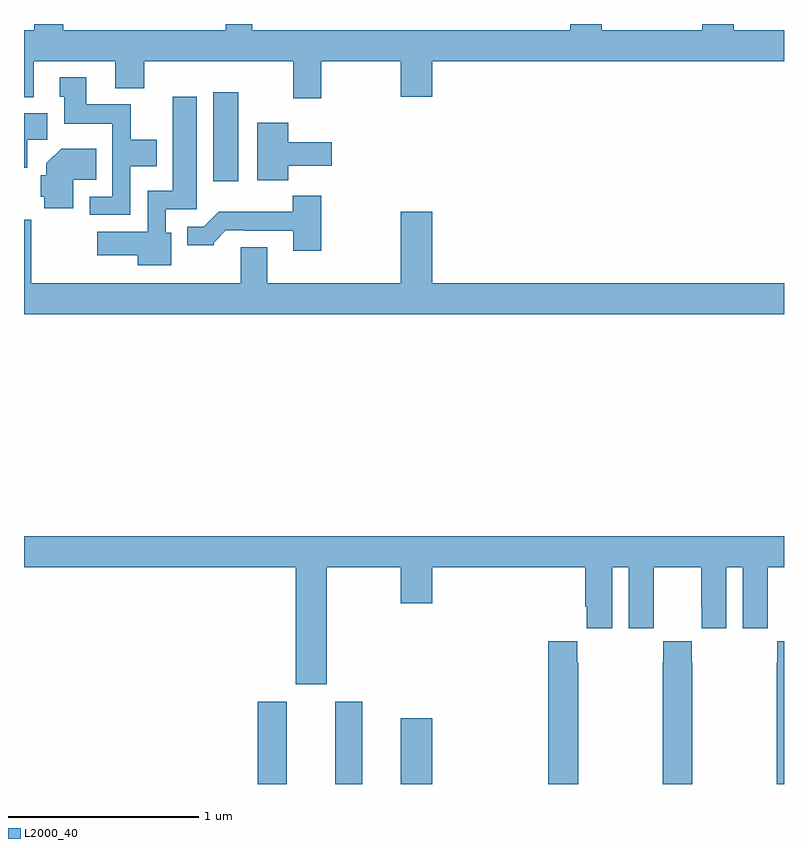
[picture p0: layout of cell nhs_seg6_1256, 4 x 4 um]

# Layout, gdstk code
import gdstk
lib = gdstk.Library(unit=1e-6, precision=1e-09)
def R(c, l, rs):  # rectangles x0, y0, x1, y1
    for r in rs: c.add(gdstk.rectangle(r[:2], r[2:], *l))
def P(c, l, *ps):  # polygons
    for p in ps: c.add(gdstk.Polygon(p, *l))
L2000_40 = (2000, 40)

nhs_seg6_1256 = lib.new_cell('nhs_seg6_1256')
R(nhs_seg6_1256, L2000_40, [(188.231,975.5,188.383,975.934), (188.639,975.5,188.779,975.934), (188.984,975.5,189.148,975.847), (187.997,978.672,188.128,979.141)])
P(nhs_seg6_1256, L2000_40, [(188.565,979.304),(188.984,979.304),(188.984,979.116),(189.148,979.116),(189.148,979.304),(191,979.304),(191,979.468),(190.736,979.468),(190.736,979.5),(190.571,979.5),(190.571,979.468),(190.04,979.468),(190.04,979.5),(189.875,979.5),(189.875,979.468),(188.202,979.468),(188.202,979.5),(188.063,979.5),(188.063,979.468),(187.207,979.468),(187.207,979.5),(187.055,979.5),(187.055,979.468),(187,979.468),(187,979.115),(187.051,979.115),(187.051,979.304),(187.481,979.304),(187.481,979.163),(187.634,979.163),(187.634,979.304),(188.417,979.304),(188.417,979.11),(188.565,979.11)],
  [(187.56,978.752),(187.699,978.752),(187.699,978.892),(187.563,978.892),(187.563,979.078),(187.327,979.078),(187.327,979.219),(187.187,979.219),(187.187,979.116),(187.211,979.116),(187.211,978.974),(187.464,978.974),(187.464,978.591),(187.347,978.591),(187.347,978.495),(187.56,978.495)],
  [(187.774,978.402),(187.746,978.402),(187.746,978.525),(187.909,978.525),(187.909,979.117),(187.784,979.117),(187.784,978.622),(187.65,978.622),(187.65,978.406),(187.386,978.406),(187.386,978.284),(187.598,978.284),(187.598,978.23),(187.774,978.23)],
  [(187.017,978.892),(187.123,978.892),(187.123,979.03),(187,979.03),(187,978.744),(187.017,978.744)],
  [(188.39,978.755),(188.62,978.755),(188.62,978.877),(188.392,978.877),(188.392,978.979),(188.228,978.979),(188.228,978.677),(188.39,978.677)],
  [(187.258,978.68),(187.379,978.68),(187.379,978.844),(187.196,978.844),(187.118,978.766),(187.118,978.705),(187.089,978.705),(187.089,978.591),(187.106,978.591),(187.106,978.53),(187.258,978.53)],
  [(188.565,978.595),(188.415,978.595),(188.415,978.511),(188.026,978.511),(187.947,978.432),(187.859,978.432),(187.859,978.335),(187.998,978.335),(187.998,978.35),(188.062,978.414),(188.161,978.414),(188.161,978.411),(188.417,978.411),(188.417,978.306),(188.565,978.306)],
  [(191,978.136),(189.148,978.136),(189.148,978.511),(188.984,978.511),(188.984,978.136),(188.281,978.136),(188.281,978.326),(188.141,978.326),(188.141,978.136),(187.039,978.136),(187.039,978.469),(187,978.469),(187,977.972),(191,977.972)],
  [(188.593,976.64),(188.984,976.64),(188.984,976.452),(189.148,976.452),(189.148,976.64),(189.953,976.64),(189.953,976.432),(189.962,976.432),(189.962,976.32),(190.096,976.32),(190.096,976.64),(190.184,976.64),(190.184,976.32),(190.314,976.32),(190.314,976.432),(190.315,976.432),(190.315,976.64),(190.565,976.64),(190.565,976.432),(190.566,976.432),(190.566,976.32),(190.696,976.32),(190.696,976.64),(190.784,976.64),(190.784,976.32),(190.914,976.32),(190.914,976.432),(190.915,976.432),(190.915,976.64),(191,976.64),(191,976.804),(187,976.804),(187,976.64),(188.429,976.64),(188.429,976.026),(188.593,976.026)],
  [(191,976.252),(190.965,976.252),(190.965,976.139),(190.963,976.139),(190.963,975.5),(191,975.5)],
  [(190.518,976.139),(190.515,976.139),(190.515,976.252),(190.365,976.252),(190.365,976.139),(190.363,976.139),(190.363,975.5),(190.518,975.5)],
  [(189.918,976.139),(189.911,976.139),(189.911,976.252),(189.758,976.252),(189.758,975.5),(189.918,975.5)])

lib.write_gds('nhs_seg6_1256.gds')
